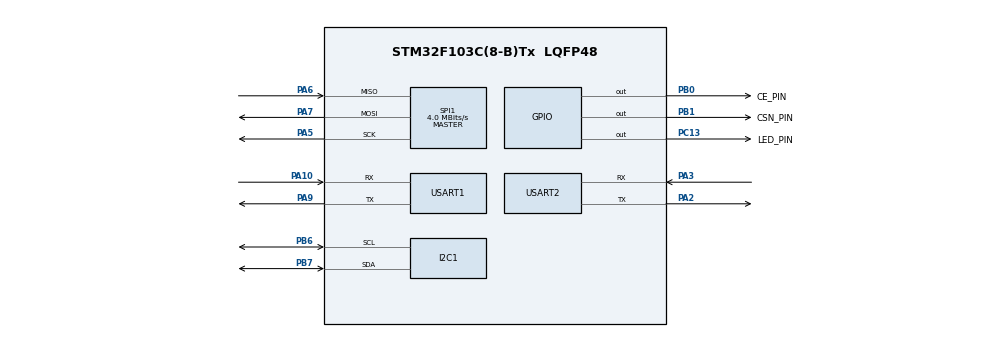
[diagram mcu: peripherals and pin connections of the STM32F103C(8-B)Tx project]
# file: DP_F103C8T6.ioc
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Mcu.Family=STM32F1
Mcu.Name=STM32F103C(8-B)Tx
Mcu.Package=LQFP48
NVIC.PriorityGroup=NVIC_PRIORITYGROUP_4
NVIC.USART2_IRQn=true\:0\:0\:false\:false\:true\:true\:true\:true
PA10.Mode=Asynchronous
PA10.Signal=USART1_RX
PA2.Mode=Asynchronous
PA2.Signal=USART2_TX
PA3.Mode=Asynchronous
PA3.Signal=USART2_RX
PA5.Mode=Full_Duplex_Master
PA5.Signal=SPI1_SCK
PA6.Mode=Full_Duplex_Master
PA6.Signal=SPI1_MISO
PA7.Mode=Full_Duplex_Master
PA7.Signal=SPI1_MOSI
PA9.Mode=Asynchronous
PA9.Signal=USART1_TX
PB0.GPIO_Label=CE_PIN
PB0.Signal=GPIO_Output
PB1.GPIO_Label=CSN_PIN
PB1.Signal=GPIO_Output
PB6.Mode=I2C
PB6.Signal=I2C1_SCL
PB7.Mode=I2C
PB7.Signal=I2C1_SDA
PC13-TAMPER-RTC.GPIO_Label=LED_PIN
PC13-TAMPER-RTC.Signal=GPIO_Output
ProjectManager.HeapSize=0x200
ProjectManager.StackSize=0x400
ProjectManager.TargetToolchain=STM32CubeIDE
RCC.APB1Freq_Value=8000000
RCC.APB2Freq_Value=8000000
SPI1.CalculateBaudRate=4.0 MBits/s
SPI1.Direction=SPI_DIRECTION_2LINES
SPI1.Mode=SPI_MODE_MASTER
SPI1.VirtualType=VM_MASTER
USART1.VirtualMode=VM_ASYNC
USART2.VirtualMode=VM_ASYNC
board=custom

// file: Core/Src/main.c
/* USER CODE BEGIN Header */
/**
 ******************************************************************************
 * @file           : main.c
 * @brief          : Main program body
 ******************************************************************************
 * @attention
 *
 * Copyright (c) 2023 STMicroelectronics.
 * All rights reserved.
 *
 * This software is licensed under terms that can be found in the LICENSE file
 * in the root directory of this software component.
 * If no LICENSE file comes with this software, it is provided AS-IS.
 *
 ******************************************************************************
 */
/* USER CODE END Header */
#include "main.h"

/* USER CODE BEGIN Includes */
#include "nrf_helper.h"
#include "utilities.h"
#include "ADP8XX_DP_SENSOR.h"
#include "ee.h"
/* USER CODE END Includes */

I2C_HandleTypeDef hi2c1;

SPI_HandleTypeDef hspi1;

UART_HandleTypeDef huart1;
UART_HandleTypeDef huart2;

void SystemClock_Config(void);
static void MX_GPIO_Init(void);
static void MX_SPI1_Init(void);
static void MX_USART1_UART_Init(void);
static void MX_USART2_UART_Init(void);
static void MX_I2C1_Init(void);

/* USER CODE BEGIN 0 */
uint8_t rx_buffer_pos;
uint8_t rx_data[2];
char Command_Buffer[20];
/* USER CODE END 0 */

int main(void) {

	/* MCU Configuration--------------------------------------------------------*/

	/* Reset of all peripherals, Initializes the Flash interface and the Systick. */
	HAL_Init();

	/* Configure the system clock */
	SystemClock_Config();

	/* Initialize all configured peripherals */
	MX_GPIO_Init();
	MX_SPI1_Init();
	MX_USART1_UART_Init();
	MX_USART2_UART_Init();
	MX_I2C1_Init();
	/* USER CODE BEGIN 2 */

//	HAL_UART_Receive_IT(&huart2, (uint8_t*) rx_data, 1); //INITIALIZE THE INTERRUPT
//	uint8_t datawrite[4] = { 'A', 'B', 'C', 'D' };
//	ee_write(_EE_ADDR_INUSE, datawrite, 4);
//	uint8_t dataread[4];
//	ee_read(_EE_ADDR_INUSE, dataread, 4);
//	HAL_Delay(1000);
//	ee_format_sector();
	nrf_init();
//	Switch_to_Receiver_mode();
	/* USER CODE END 2 */

	/* Infinite loop */
	while (1) {

		/* USER CODE BEGIN 3 */
//		send_DP_sensor_value_to_gateway();
		if (NRF24_available()) {
			HANDLE_RECEIVED_MESSAGE_FROM_GATEWAY();
		}
		HAL_GPIO_TogglePin(LED_PIN_GPIO_Port, LED_PIN_Pin);
		HAL_Delay(1000);
	}
	/* USER CODE END 3 */
}

void SystemClock_Config(void) {
	RCC_OscInitTypeDef RCC_OscInitStruct = { 0 };
	RCC_ClkInitTypeDef RCC_ClkInitStruct = { 0 };

	/** Initializes the RCC Oscillators according to the specified parameters
	 * in the RCC_OscInitTypeDef structure.
	 */
	RCC_OscInitStruct.OscillatorType = RCC_OSCILLATORTYPE_HSI;
	RCC_OscInitStruct.HSIState = RCC_HSI_ON;
	RCC_OscInitStruct.HSICalibrationValue = RCC_HSICALIBRATION_DEFAULT;
	RCC_OscInitStruct.PLL.PLLState = RCC_PLL_NONE;
	if (HAL_RCC_OscConfig(&RCC_OscInitStruct) != HAL_OK) {
		Error_Handler();
	}

	/** Initializes the CPU, AHB and APB buses clocks
	 */
	RCC_ClkInitStruct.ClockType = RCC_CLOCKTYPE_HCLK | RCC_CLOCKTYPE_SYSCLK
			| RCC_CLOCKTYPE_PCLK1 | RCC_CLOCKTYPE_PCLK2;
	RCC_ClkInitStruct.SYSCLKSource = RCC_SYSCLKSOURCE_HSI;
	RCC_ClkInitStruct.AHBCLKDivider = RCC_SYSCLK_DIV1;
	RCC_ClkInitStruct.APB1CLKDivider = RCC_HCLK_DIV1;
	RCC_ClkInitStruct.APB2CLKDivider = RCC_HCLK_DIV1;

	if (HAL_RCC_ClockConfig(&RCC_ClkInitStruct, FLASH_LATENCY_0) != HAL_OK) {
		Error_Handler();
	}
}

static void MX_I2C1_Init(void) {

	hi2c1.Instance = I2C1;
	hi2c1.Init.ClockSpeed = 100000;
	hi2c1.Init.DutyCycle = I2C_DUTYCYCLE_2;
	hi2c1.Init.OwnAddress1 = 0;
	hi2c1.Init.AddressingMode = I2C_ADDRESSINGMODE_7BIT;
	hi2c1.Init.DualAddressMode = I2C_DUALADDRESS_DISABLE;
	hi2c1.Init.OwnAddress2 = 0;
	hi2c1.Init.GeneralCallMode = I2C_GENERALCALL_DISABLE;
	hi2c1.Init.NoStretchMode = I2C_NOSTRETCH_DISABLE;
	if (HAL_I2C_Init(&hi2c1) != HAL_OK) {
		Error_Handler();
	}

}

static void MX_SPI1_Init(void) {

	/* SPI1 parameter configuration*/
	hspi1.Instance = SPI1;
	hspi1.Init.Mode = SPI_MODE_MASTER;
	hspi1.Init.Direction = SPI_DIRECTION_2LINES;
	hspi1.Init.DataSize = SPI_DATASIZE_8BIT;
	hspi1.Init.CLKPolarity = SPI_POLARITY_LOW;
	hspi1.Init.CLKPhase = SPI_PHASE_1EDGE;
	hspi1.Init.NSS = SPI_NSS_SOFT;
	hspi1.Init.BaudRatePrescaler = SPI_BAUDRATEPRESCALER_2;
	hspi1.Init.FirstBit = SPI_FIRSTBIT_MSB;
	hspi1.Init.TIMode = SPI_TIMODE_DISABLE;
	hspi1.Init.CRCCalculation = SPI_CRCCALCULATION_DISABLE;
	hspi1.Init.CRCPolynomial = 10;
	if (HAL_SPI_Init(&hspi1) != HAL_OK) {
		Error_Handler();
	}

}

static void MX_USART1_UART_Init(void) {

	huart1.Instance = USART1;
	huart1.Init.BaudRate = 115200;
	huart1.Init.WordLength = UART_WORDLENGTH_8B;
	huart1.Init.StopBits = UART_STOPBITS_1;
	huart1.Init.Parity = UART_PARITY_NONE;
	huart1.Init.Mode = UART_MODE_TX_RX;
	huart1.Init.HwFlowCtl = UART_HWCONTROL_NONE;
	huart1.Init.OverSampling = UART_OVERSAMPLING_16;
	if (HAL_UART_Init(&huart1) != HAL_OK) {
		Error_Handler();
	}

}

static void MX_USART2_UART_Init(void) {

	huart2.Instance = USART2;
	huart2.Init.BaudRate = 115200;
	huart2.Init.WordLength = UART_WORDLENGTH_8B;
	huart2.Init.StopBits = UART_STOPBITS_1;
	huart2.Init.Parity = UART_PARITY_NONE;
	huart2.Init.Mode = UART_MODE_TX_RX;
	huart2.Init.HwFlowCtl = UART_HWCONTROL_NONE;
	huart2.Init.OverSampling = UART_OVERSAMPLING_16;
	if (HAL_UART_Init(&huart2) != HAL_OK) {
		Error_Handler();
	}

}

static void MX_GPIO_Init(void) {
	GPIO_InitTypeDef GPIO_InitStruct = { 0 };

	/* GPIO Ports Clock Enable */
	__HAL_RCC_GPIOC_CLK_ENABLE();
	__HAL_RCC_GPIOA_CLK_ENABLE();
	__HAL_RCC_GPIOB_CLK_ENABLE();

	/*Configure GPIO pin Output Level */
	HAL_GPIO_WritePin(LED_PIN_GPIO_Port, LED_PIN_Pin, GPIO_PIN_RESET);

	/*Configure GPIO pin Output Level */
	HAL_GPIO_WritePin(GPIOB, CE_PIN_Pin | CSN_PIN_Pin, GPIO_PIN_RESET);

	/*Configure GPIO pin : LED_PIN_Pin */
	GPIO_InitStruct.Pin = LED_PIN_Pin;
	GPIO_InitStruct.Mode = GPIO_MODE_OUTPUT_PP;
	GPIO_InitStruct.Pull = GPIO_NOPULL;
	GPIO_InitStruct.Speed = GPIO_SPEED_FREQ_LOW;
	HAL_GPIO_Init(LED_PIN_GPIO_Port, &GPIO_InitStruct);

	/*Configure GPIO pins : CE_PIN_Pin CSN_PIN_Pin */
	GPIO_InitStruct.Pin = CE_PIN_Pin | CSN_PIN_Pin;
	GPIO_InitStruct.Mode = GPIO_MODE_OUTPUT_PP;
	GPIO_InitStruct.Pull = GPIO_NOPULL;
	GPIO_InitStruct.Speed = GPIO_SPEED_FREQ_LOW;
	HAL_GPIO_Init(GPIOB, &GPIO_InitStruct);

}

/* USER CODE BEGIN 4 */
void HAL_UART_RxCpltCallback(UART_HandleTypeDef *huart) {
	/* Prevent unused argument(s) compilation warning */
	UNUSED(huart);
	/* NOTE: This function should not be modified, when the callback is needed,
	 the HAL_UART_RxCpltCallback could be implemented in the user file
	 */
	if (huart->Instance == USART2) {
		if (rx_data[0] != '/') { //if it is not equal to 'COMMAND END' then write data into INCREMENTED POS of rx_buffer
			Command_Buffer[rx_buffer_pos++] = rx_data[0];
		} else { // HERE IT MEANS if(rx_data[0] == '/') IF it is equal to 'COMMAND END' then clear the buffer, compare data and move on
			Command_Buffer[rx_buffer_pos++] = '\0'; //ADDING NULL TERMINATOR AT THE END
			HAL_UART_Transmit(&huart2, (const uint8_t*) "\n\r", 2, 100); //PRINT NEW LINE AND CARRRIAGE RETURN
			Process_Received_Command_From_Uart(Command_Buffer);
			rx_buffer_pos = 0;
			//AFTER USING THE DATA CLEAR THE RX BUFFER (Command_Buffer)
			uint8_t i;
			if (rx_buffer_pos == 0) { //RESET THE BUFFER ONLY WHEN RX { BUFFER == 0 }
				for (i = 0; i < 20; i++)
					Command_Buffer[i] = 0;
			}
		}
		HAL_UART_Receive_IT(&huart2, rx_data, 1);
		HAL_UART_Transmit(&huart2, (const uint8_t*) rx_data, 1, 100); //PRINT THE RECEIVED CHARACTER

		//PROCESS RECEIVED DATA
	}
}
/* USER CODE END 4 */

void Error_Handler(void) {
	__disable_irq();
	while (1) {
	}
}
